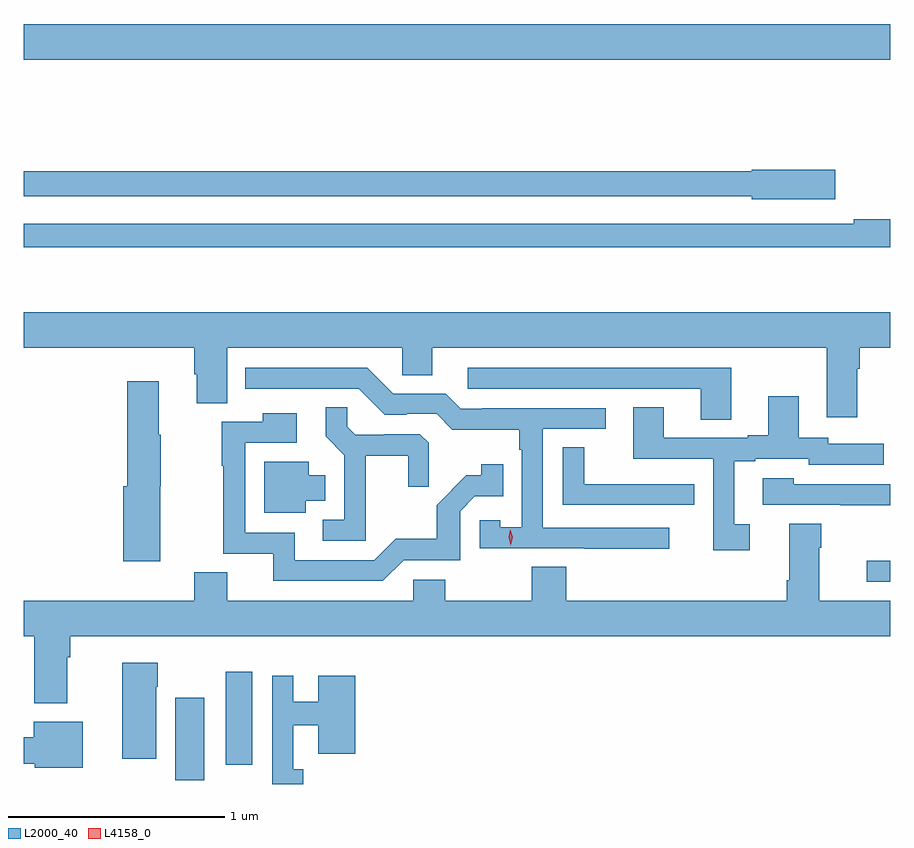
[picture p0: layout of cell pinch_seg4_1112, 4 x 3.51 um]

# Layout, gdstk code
import gdstk
lib = gdstk.Library(unit=1e-6, precision=1e-09)
def R(c, l, rs):  # rectangles x0, y0, x1, y1
    for r in rs: c.add(gdstk.rectangle(r[:2], r[2:], *l))
def P(c, l, *ps):  # polygons
    for p in ps: c.add(gdstk.Polygon(p, *l))
L2000_40 = (2000, 40)
L4158_0 = (4158, 0)

pinch_seg4_1112 = lib.new_cell('pinch_seg4_1112')
R(pinch_seg4_1112, L2000_40, [(445.958,810.808,446.092,811.189), (446.192,810.879,446.314,811.309), (449.151,811.725,449.259,811.821), (445.259,814.136,449.259,814.3)])
P(pinch_seg4_1112, L2000_40, [(449.005,813.626),(448.62,813.626),(448.62,813.62),(445.259,813.62),(445.259,813.504),(448.62,813.504),(448.62,813.491),(449.005,813.491)],
  [(449.259,813.398),(449.092,813.398),(449.092,813.378),(445.259,813.378),(445.259,813.27),(449.259,813.27)],
  [(449.107,812.708),(449.12,812.708),(449.12,812.804),(449.259,812.804),(449.259,812.968),(445.259,812.968),(445.259,812.804),(446.045,812.804),(446.045,812.682),(446.057,812.682),(446.057,812.548),(446.197,812.548),(446.197,812.804),(447.006,812.804),(447.006,812.677),(447.145,812.677),(447.145,812.804),(448.967,812.804),(448.967,812.484),(449.107,812.484)],
  [(448.24,811.974),(447.654,811.974),(447.654,812.43),(447.946,812.43),(447.946,812.526),(447.376,812.526),(447.376,812.523),(447.276,812.523),(447.207,812.592),(446.964,812.592),(446.844,812.712),(446.282,812.712),(446.282,812.616),(446.805,812.616),(446.925,812.496),(447.026,812.496),(447.026,812.499),(447.165,812.499),(447.238,812.426),(447.546,812.426),(447.546,812.333),(447.558,812.333),(447.558,811.975),(447.459,811.975),(447.459,812.007),(447.363,812.007),(447.363,811.878),(447.847,811.878),(447.847,811.876),(448.24,811.876)],
  [(448.525,812.712),(447.309,812.712),(447.309,812.616),(448.385,812.616),(448.385,812.473),(448.525,812.473)],
  [(445.888,812.166),(445.89,812.166),(445.89,812.402),(445.882,812.402),(445.882,812.65),(445.736,812.65),(445.736,812.166),(445.718,812.166),(445.718,811.818),(445.888,811.818)],
  [(448.612,811.989),(448.54,811.989),(448.54,812.28),(448.636,812.28),(448.636,812.292),(448.884,812.292),(448.884,812.265),(449.23,812.265),(449.23,812.361),(448.974,812.361),(448.974,812.388),(448.837,812.388),(448.837,812.581),(448.697,812.581),(448.697,812.401),(448.601,812.401),(448.601,812.388),(448.213,812.388),(448.213,812.531),(448.073,812.531),(448.073,812.292),(448.443,812.292),(448.443,811.869),(448.612,811.869)],
  [(446.837,812.306),(447.034,812.306),(447.034,812.163),(447.128,812.163),(447.128,812.365),(447.087,812.406),(446.922,812.406),(446.922,812.403),(446.788,812.403),(446.751,812.44),(446.751,812.531),(446.653,812.531),(446.653,812.395),(446.739,812.309),(446.739,812.01),(446.64,812.01),(446.64,811.914),(446.837,811.914)],
  [(447.012,811.824),(447.273,811.824),(447.273,812.049),(447.342,812.118),(447.473,812.118),(447.473,812.266),(447.372,812.266),(447.372,812.216),(447.302,812.216),(447.165,812.078),(447.165,811.923),(446.976,811.923),(446.877,811.824),(446.509,811.824),(446.509,811.95),(446.28,811.95),(446.28,812.367),(446.518,812.367),(446.518,812.503),(446.362,812.503),(446.362,812.463),(446.172,812.463),(446.172,812.26),(446.179,812.26),(446.179,811.854),(446.411,811.854),(446.411,811.728),(446.916,811.728)],
  [(448.354,812.174),(448.241,812.174),(448.241,812.175),(447.846,812.175),(447.846,812.345),(447.747,812.345),(447.747,812.079),(448.354,812.079)],
  [(446.56,812.099),(446.65,812.099),(446.65,812.215),(446.575,812.215),(446.575,812.278),(446.369,812.278),(446.369,812.042),(446.56,812.042)],
  [(449.259,812.175),(448.815,812.175),(448.815,812.203),(448.671,812.203),(448.671,812.079),(449.029,812.079),(449.029,812.077),(449.259,812.077)],
  [(445.459,811.376),(445.472,811.376),(445.472,811.472),(449.259,811.472),(449.259,811.636),(448.933,811.636),(448.933,811.88),(448.941,811.88),(448.941,811.993),(448.793,811.993),(448.793,811.732),(448.781,811.732),(448.781,811.636),(447.764,811.636),(447.764,811.793),(447.604,811.793),(447.604,811.636),(447.204,811.636),(447.204,811.734),(447.057,811.734),(447.057,811.636),(446.197,811.636),(446.197,811.769),(446.045,811.769),(446.045,811.636),(445.259,811.636),(445.259,811.472),(445.307,811.472),(445.307,811.163),(445.459,811.163)],
  [(445.87,811.238),(445.878,811.238),(445.878,811.351),(445.712,811.351),(445.712,810.906),(445.87,810.906)],
  [(446.549,810.859),(446.502,810.859),(446.502,811.061),(446.618,811.061),(446.618,810.93),(446.789,810.93),(446.789,811.291),(446.618,811.291),(446.618,811.171),(446.502,811.171),(446.502,811.291),(446.406,811.291),(446.406,810.79),(446.549,810.79)],
  [(445.531,811.078),(445.304,811.078),(445.304,811.006),(445.259,811.006),(445.259,810.884),(445.308,810.884),(445.308,810.866),(445.531,810.866)])
P(pinch_seg4_1112, L4158_0, [(447.508,811.893),(447.508,811.893),(447.497,811.929),(447.506,811.965),(447.506,811.965),(447.506,811.965),(447.517,811.93),(447.508,811.893)])

lib.write_gds('pinch_seg4_1112.gds')
